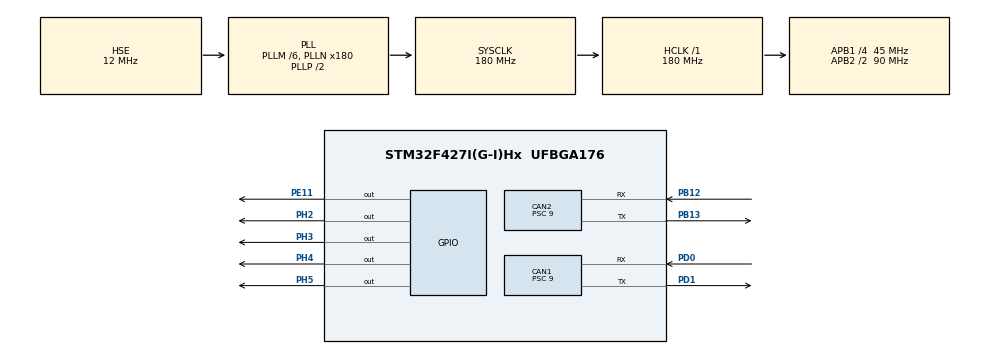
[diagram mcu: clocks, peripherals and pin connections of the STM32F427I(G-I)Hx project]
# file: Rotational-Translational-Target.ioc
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CAN1.ABOM=ENABLE
CAN1.BS1=CAN_BS1_2TQ
CAN1.BS2=CAN_BS2_2TQ
CAN1.CalculateBaudRate=1000000
CAN1.CalculateTimeBit=1000
CAN1.CalculateTimeQuantum=200.0
CAN1.Prescaler=9
CAN2.ABOM=ENABLE
CAN2.BS1=CAN_BS1_2TQ
CAN2.BS2=CAN_BS2_2TQ
CAN2.CalculateBaudRate=1000000
CAN2.CalculateTimeBit=1000
CAN2.CalculateTimeQuantum=200.0
CAN2.Prescaler=9
IWDG.Prescaler=IWDG_PRESCALER_32
IWDG.Reload=1000 - 1
Mcu.Family=STM32F4
Mcu.Name=STM32F427I(G-I)Hx
Mcu.Package=UFBGA176
NVIC.CAN1_RX0_IRQn=true\:0\:0\:false\:false\:true\:true\:true\:true
NVIC.CAN1_RX1_IRQn=true\:0\:0\:false\:false\:true\:true\:true\:true
NVIC.CAN1_TX_IRQn=true\:0\:0\:false\:false\:true\:true\:true\:true
NVIC.CAN2_RX0_IRQn=true\:0\:0\:false\:false\:true\:true\:true\:true
NVIC.CAN2_RX1_IRQn=true\:0\:0\:false\:false\:true\:true\:true\:true
NVIC.CAN2_TX_IRQn=true\:0\:0\:false\:false\:true\:true\:true\:true
NVIC.PriorityGroup=NVIC_PRIORITYGROUP_4
NVIC.TIM3_IRQn=true\:0\:0\:false\:false\:true\:true\:true\:true
PA13.Mode=Serial_Wire
PA13.Signal=SYS_JTMS-SWDIO
PA14.Mode=Serial_Wire
PA14.Signal=SYS_JTCK-SWCLK
PB12.Mode=CAN_Activate
PB12.Signal=CAN2_RX
PB13.Mode=CAN_Activate
PB13.Signal=CAN2_TX
PC14/OSC32_IN.Mode=LSE-External-Oscillator
PC14/OSC32_IN.Signal=RCC_OSC32_IN
PC15/OSC32_OUT.Mode=LSE-External-Oscillator
PC15/OSC32_OUT.Signal=RCC_OSC32_OUT
PD0.Mode=CAN_Activate
PD0.Signal=CAN1_RX
PD1.Mode=CAN_Activate
PD1.Signal=CAN1_TX
PE11.GPIO_PuPd=GPIO_PULLDOWN
PE11.Signal=GPIO_Output
PH0/OSC_IN.Mode=HSE-External-Oscillator
PH0/OSC_IN.Signal=RCC_OSC_IN
PH1/OSC_OUT.Mode=HSE-External-Oscillator
PH1/OSC_OUT.Signal=RCC_OSC_OUT
PH2.GPIO_PuPd=GPIO_PULLDOWN
PH2.PinState=GPIO_PIN_RESET
PH2.Signal=GPIO_Output
PH3.GPIO_PuPd=GPIO_PULLDOWN
PH3.Signal=GPIO_Output
PH4.GPIO_PuPd=GPIO_PULLDOWN
PH4.Signal=GPIO_Output
PH5.GPIO_PuPd=GPIO_PULLDOWN
PH5.Signal=GPIO_Output
ProjectManager.HeapSize=0x200
ProjectManager.StackSize=0x400
ProjectManager.TargetToolchain=MDK-ARM V5.32
RCC.48MHZClocksFreq_Value=90000000
RCC.AHBFreq_Value=180000000
RCC.APB1CLKDivider=RCC_HCLK_DIV4
RCC.APB1Freq_Value=45000000
RCC.APB1TimFreq_Value=90000000
RCC.APB2CLKDivider=RCC_HCLK_DIV2
RCC.APB2Freq_Value=90000000
RCC.APB2TimFreq_Value=180000000
RCC.CortexFreq_Value=180000000
RCC.HCLKFreq_Value=180000000
RCC.HSE_VALUE=12000000
RCC.HSI_VALUE=16000000
RCC.PLLM=6
RCC.PLLN=180
RCC.PLLSourceVirtual=RCC_PLLSOURCE_HSE
RCC.SYSCLKFreq_VALUE=180000000
RCC.SYSCLKSource=RCC_SYSCLKSOURCE_PLLCLK
RCC.VCOOutputFreq_Value=360000000
TIM3.AutoReloadPreload=TIM_AUTORELOAD_PRELOAD_ENABLE
TIM3.Period=3000 - 1
TIM3.Prescaler=180 - 1
VP_IWDG_VS_IWDG.Mode=IWDG_Activate
VP_TIM3_VS_ClockSourceINT.Mode=Internal
board=custom

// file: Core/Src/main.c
/* USER CODE BEGIN Header */
/**
 ******************************************************************************
 * @file           : main.c
 * @brief          : Main program body
 ******************************************************************************
 * @attention
 *
 * Copyright (c) 2025 STMicroelectronics.
 * All rights reserved.
 *
 * This software is licensed under terms that can be found in the LICENSE file
 * in the root directory of this software component.
 * If no LICENSE file comes with this software, it is provided AS-IS.
 *
 ******************************************************************************
 */
/* USER CODE END Header */
#include "main.h"
#include "can.h"
#include "iwdg.h"
#include "tim.h"
#include "gpio.h"

/* USER CODE BEGIN Includes */
#include "bsp_can.h"
#include "CAN_receive.h"
/* USER CODE END Includes */

void SystemClock_Config(void);

int main(void)
{

  /* MCU Configuration--------------------------------------------------------*/

  /* Reset of all peripherals, Initializes the Flash interface and the Systick. */
  HAL_Init();

  /* Configure the system clock */
  SystemClock_Config();

  /* USER CODE BEGIN SysInit */

  // 独立看门狗使用实例：
  // HAL_IWDG_Init(IWDG_HandleTypeDef *hiwdg); -> 第一步调用初始化
  // HAL_IWDG_Refresh(IWDG_HandleTypeDef *hiwdg); -> 要喂狗的时候调用喂狗函数

  // 窗口看门狗调用实例：
  // HAL_WWDG_Init(WWDG_HandleTypeDef *hwwdg); -> 第一步调用初始化
  // HAL_WWDG_Refresh(WWDG_HandleTypeDef *hwwdg) -> 第二步喂狗
  // HAL_WWDG_IRQHandler(WWDG_HandleTypeDef *hwwdg); -> 第三步注意这个回调函数

  // 现在使用IWDG

  /* USER CODE END SysInit */

  /* Initialize all configured peripherals */
  MX_GPIO_Init();
  MX_CAN1_Init();
  MX_CAN2_Init();
//  MX_IWDG_Init();
  MX_TIM3_Init();
  /* USER CODE BEGIN 2 */
  MotorPowerEnable();

  HAL_TIM_Base_MspInit(&htim3);
  can_filter_init();
  HAL_CAN_MspInit(&hcan1);
	HAL_CAN_MspInit(&hcan2);
  HAL_Delay(1000);
  enable_motor_mode(&hcan1, 0x01, SPEED_MODE);
  HAL_Delay(100);
	MX_IWDG_Init();

  HAL_TIM_Base_Start_IT(&htim3);
  /* USER CODE END 2 */

  /* Infinite loop */
  /* USER CODE BEGIN WHILE */
  while (1)
  {
    if (CAN_RX_FLAG)
    {
			CAN_RX_FLAG = 0x00;
      HAL_GPIO_TogglePin(GPIOE, GPIO_PIN_11);
      HAL_Delay(250);
			HAL_IWDG_Refresh(&hiwdg);
    }
    /* USER CODE END WHILE */

  }
}

void SystemClock_Config(void)
{
  RCC_OscInitTypeDef RCC_OscInitStruct = {0};
  RCC_ClkInitTypeDef RCC_ClkInitStruct = {0};

  /** Configure the main internal regulator output voltage
  */
  __HAL_RCC_PWR_CLK_ENABLE();
  __HAL_PWR_VOLTAGESCALING_CONFIG(PWR_REGULATOR_VOLTAGE_SCALE1);

  /** Initializes the RCC Oscillators according to the specified parameters
  * in the RCC_OscInitTypeDef structure.
  */
  RCC_OscInitStruct.OscillatorType = RCC_OSCILLATORTYPE_LSI|RCC_OSCILLATORTYPE_HSE;
  RCC_OscInitStruct.HSEState = RCC_HSE_ON;
  RCC_OscInitStruct.LSIState = RCC_LSI_ON;
  RCC_OscInitStruct.PLL.PLLState = RCC_PLL_ON;
  RCC_OscInitStruct.PLL.PLLSource = RCC_PLLSOURCE_HSE;
  RCC_OscInitStruct.PLL.PLLM = 6;
  RCC_OscInitStruct.PLL.PLLN = 180;
  RCC_OscInitStruct.PLL.PLLP = RCC_PLLP_DIV2;
  RCC_OscInitStruct.PLL.PLLQ = 4;
  if (HAL_RCC_OscConfig(&RCC_OscInitStruct) != HAL_OK)
  {
    Error_Handler();
  }

  /** Activate the Over-Drive mode
  */
  if (HAL_PWREx_EnableOverDrive() != HAL_OK)
  {
    Error_Handler();
  }

  /** Initializes the CPU, AHB and APB buses clocks
  */
  RCC_ClkInitStruct.ClockType = RCC_CLOCKTYPE_HCLK|RCC_CLOCKTYPE_SYSCLK
                              |RCC_CLOCKTYPE_PCLK1|RCC_CLOCKTYPE_PCLK2;
  RCC_ClkInitStruct.SYSCLKSource = RCC_SYSCLKSOURCE_PLLCLK;
  RCC_ClkInitStruct.AHBCLKDivider = RCC_SYSCLK_DIV1;
  RCC_ClkInitStruct.APB1CLKDivider = RCC_HCLK_DIV4;
  RCC_ClkInitStruct.APB2CLKDivider = RCC_HCLK_DIV2;

  if (HAL_RCC_ClockConfig(&RCC_ClkInitStruct, FLASH_LATENCY_5) != HAL_OK)
  {
    Error_Handler();
  }
}

void Error_Handler(void)
{
  __disable_irq();
  while (1)
  {
  }
}
